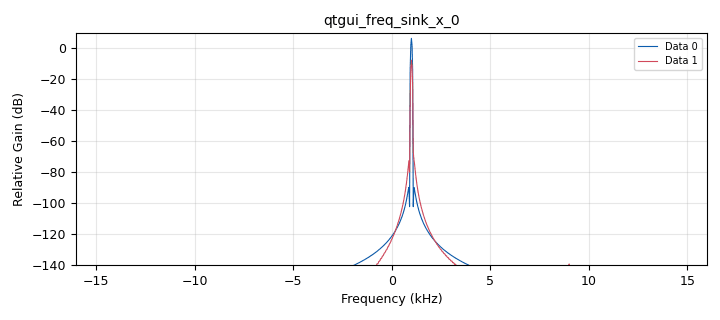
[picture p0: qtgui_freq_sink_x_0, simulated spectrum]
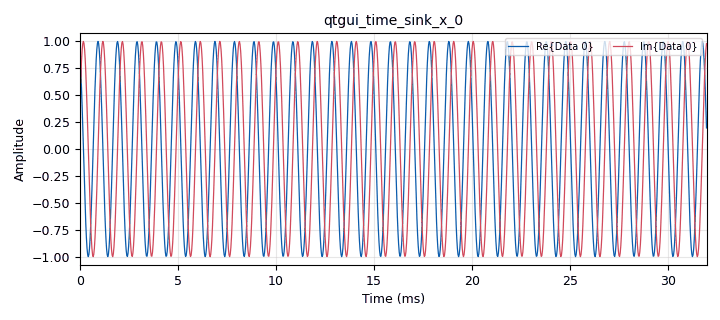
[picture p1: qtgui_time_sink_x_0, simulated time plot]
options:
  parameters:
    author: Diana_Joan_Cristian
    description: Segundo flujograma
    generate_options: qt_gui
    id: GithubSecond
    output_language: python
    title: GithubSecond
  states: {}

blocks:
- name: Const
  id: variable_qtgui_range
  parameters:
    label: Const
    start: '0'
    step: '1'
    stop: '10'
    value: '5'
  states: {}
- name: Mix
  id: variable_qtgui_range
  parameters:
    label: Mix
    start: '0'
    step: '1'
    stop: '1000'
    value: '5'
  states: {}
- name: samp_rate
  id: variable
  parameters:
    value: '32000'
  states: {}
- name: analog_sig_source_x_0
  id: analog_sig_source_x
  parameters:
    amp: '1'
    freq: '1000'
    offset: '0'
    phase: '0'
    samp_rate: samp_rate
    type: complex
    waveform: analog.GR_COS_WAVE
  states: {}
- name: blocks_freqshift_cc_0
  id: blocks_freqshift_cc
  parameters:
    freq: Mix
    sample_rate: samp_rate
  states: {}
- name: blocks_multiply_const_vxx_0
  id: blocks_multiply_const_vxx
  parameters:
    const: Const
    type: complex
  states: {}
- name: blocks_throttle_0
  id: blocks_throttle
  parameters:
    samples_per_second: samp_rate
    type: complex
  states: {}
- name: qtgui_freq_sink_x_0
  id: qtgui_freq_sink_x
  parameters:
    axislabels: 'False'
    bw: samp_rate
    fc: '0'
    fftsize: '1024'
    nconnections: '2'
    type: complex
    wintype: window.WIN_BLACKMAN
  states: {}
- name: qtgui_time_sink_x_0
  id: qtgui_time_sink_x
  parameters:
    size: '1024'
    srate: samp_rate
    type: complex
  states: {}

connections:
- [analog_sig_source_x_0, '0', blocks_multiply_const_vxx_0, '0']
- [analog_sig_source_x_0, '0', blocks_throttle_0, '0']
- [blocks_freqshift_cc_0, '0', qtgui_freq_sink_x_0, '1']
- [blocks_freqshift_cc_0, '0', qtgui_time_sink_x_0, '0']
- [blocks_multiply_const_vxx_0, '0', qtgui_freq_sink_x_0, '0']
- [blocks_throttle_0, '0', blocks_freqshift_cc_0, '0']

metadata:
  file_format: 1
  grc_version: 3.10.5.1
